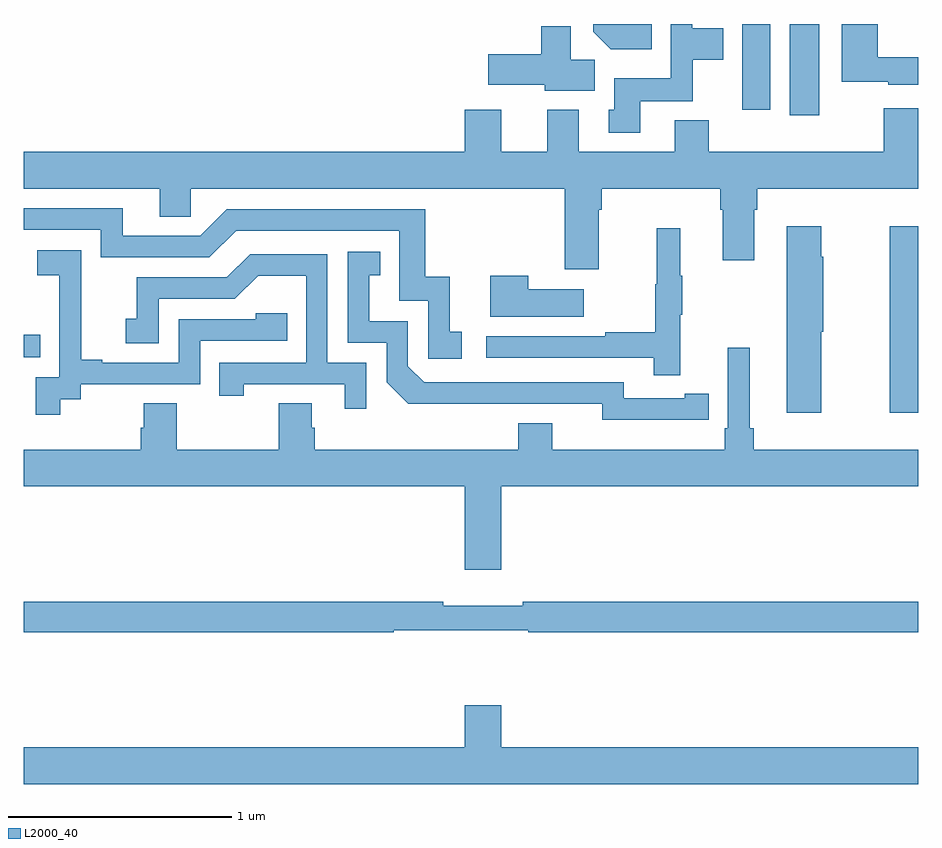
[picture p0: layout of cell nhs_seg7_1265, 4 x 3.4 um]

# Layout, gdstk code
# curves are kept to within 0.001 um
import gdstk
lib = gdstk.Library(unit=1e-6, precision=1e-09)
def R(c, l, rs):  # rectangles x0, y0, x1, y1
    for r in rs: c.add(gdstk.rectangle(r[:2], r[2:], *l))
def P(c, l, *ps):  # polygons
    for p in ps: c.add(gdstk.Polygon(p, *l))
L2000_40 = (2000, 40)

nhs_seg7_1265 = lib.new_cell('nhs_seg7_1265')
R(nhs_seg7_1265, L2000_40, [(202.873,1018.26,203,1019.095), (199,1018.509,199.073,1018.61), (202.427,1019.592,202.558,1020), (202.214,1019.616,202.339,1020)])
P(nhs_seg7_1265, L2000_40, [(201.809,1020),(201.548,1020),(201.548,1019.966),(201.626,1019.888),(201.809,1019.888)],
  [(201.757,1019.654),(201.993,1019.654),(201.993,1019.84),(202.129,1019.84),(202.129,1019.98),(201.99,1019.98),(201.99,1020),(201.894,1020),(201.894,1019.758),(201.641,1019.758),(201.641,1019.616),(201.617,1019.616),(201.617,1019.514),(201.757,1019.514)],
  [(203,1019.851),(202.82,1019.851),(202.82,1020),(202.658,1020),(202.658,1019.741),(202.866,1019.741),(202.866,1019.729),(203,1019.729)],
  [(201.553,1019.84),(201.446,1019.84),(201.446,1019.989),(201.314,1019.989),(201.314,1019.864),(201.078,1019.864),(201.078,1019.729),(201.33,1019.729),(201.33,1019.702),(201.553,1019.702)],
  [(201.341,1019.617),(201.341,1019.428),(201.136,1019.428),(201.136,1019.617),(200.972,1019.617),(200.972,1019.428),(199,1019.428),(199,1019.264),(199.607,1019.264),(199.607,1019.137),(199.746,1019.137),(199.746,1019.264),(201.419,1019.264),(201.419,1018.902),(201.571,1018.902),(201.571,1019.168),(201.584,1019.168),(201.584,1019.264),(202.115,1019.264),(202.115,1019.168),(202.127,1019.168),(202.127,1018.944),(202.267,1018.944),(202.267,1019.168),(202.28,1019.168),(202.28,1019.264),(203,1019.264),(203,1019.623),(202.847,1019.623),(202.847,1019.428),(202.064,1019.428),(202.064,1019.569),(201.911,1019.569),(201.911,1019.428),(201.481,1019.428),(201.481,1019.617)],
  [(200.959,1018.623),(200.906,1018.623),(200.906,1018.87),(200.795,1018.87),(200.795,1019.172),(199.908,1019.172),(199.788,1019.052),(199.441,1019.052),(199.441,1019.175),(199,1019.175),(199,1019.079),(199.344,1019.079),(199.344,1018.956),(199.83,1018.956),(199.95,1019.076),(200.679,1019.076),(200.679,1018.761),(200.808,1018.761),(200.808,1018.503),(200.959,1018.503)],
  [(202.566,1018.623),(202.576,1018.623),(202.576,1018.959),(202.566,1018.959),(202.566,1019.095),(202.412,1019.095),(202.412,1018.26),(202.566,1018.26)],
  [(201.935,1018.699),(201.946,1018.699),(201.946,1018.873),(201.935,1018.873),(201.935,1019.086),(201.832,1019.086),(201.832,1018.836),(201.825,1018.836),(201.825,1018.622),(201.601,1018.622),(201.601,1018.602),(201.069,1018.602),(201.069,1018.506),(201.817,1018.506),(201.817,1018.428),(201.935,1018.428)],
  [(199.162,1018.321),(199.254,1018.321),(199.254,1018.389),(199.788,1018.389),(199.788,1018.584),(200.177,1018.584),(200.177,1018.707),(200.037,1018.707),(200.037,1018.68),(199.692,1018.68),(199.692,1018.485),(199.351,1018.485),(199.351,1018.498),(199.256,1018.498),(199.256,1018.781),(199.257,1018.781),(199.257,1018.987),(199.059,1018.987),(199.059,1018.877),(199.157,1018.877),(199.157,1018.649),(199.158,1018.649),(199.158,1018.419),(199.053,1018.419),(199.053,1018.251),(199.162,1018.251)],
  [(201.956,1018.23),(202.064,1018.23),(202.064,1018.346),(201.956,1018.346),(201.956,1018.326),(201.684,1018.326),(201.684,1018.398),(200.79,1018.398),(200.718,1018.47),(200.718,1018.671),(200.545,1018.671),(200.545,1018.875),(200.594,1018.875),(200.594,1018.981),(200.448,1018.981),(200.448,1018.575),(200.622,1018.575),(200.622,1018.398),(200.72,1018.301),(201.588,1018.302),(201.588,1018.229)],
  [(200.532,1018.485),(200.358,1018.485),(200.358,1018.971),(200.012,1018.971),(199.907,1018.866),(199.504,1018.866),(199.504,1018.681),(199.455,1018.681),(199.455,1018.572),(199.602,1018.572),(199.602,1018.77),(199.944,1018.77),(200.048,1018.874),(200.262,1018.874),(200.262,1018.485),(199.873,1018.485),(199.873,1018.338),(199.984,1018.338),(199.984,1018.389),(200.435,1018.389),(200.435,1018.278),(200.532,1018.278)],
  [(201.505,1018.813),(201.257,1018.813),(201.257,1018.873),(201.086,1018.873),(201.086,1018.691),(201.505,1018.691)],
  [(201.136,1017.932),(203,1017.932),(203,1018.096),(202.265,1018.096),(202.265,1018.192),(202.246,1018.192),(202.246,1018.552),(202.149,1018.552),(202.149,1018.192),(202.136,1018.192),(202.136,1018.096),(201.364,1018.096),(201.364,1018.213),(201.212,1018.213),(201.212,1018.096),(200.3,1018.096),(200.3,1018.194),(200.287,1018.194),(200.287,1018.304),(200.14,1018.304),(200.14,1018.096),(199.683,1018.096),(199.683,1018.304),(199.535,1018.304),(199.535,1018.194),(199.523,1018.194),(199.523,1018.096),(199,1018.096),(199,1017.932),(200.972,1017.932),(200.972,1017.558),(201.136,1017.558)],
  [(200.655,1017.288),(201.255,1017.288),(201.255,1017.28),(203,1017.28),(203,1017.416),(201.232,1017.416),(201.232,1017.397),(200.876,1017.397),(200.876,1017.416),(199,1017.416),(199,1017.28),(200.655,1017.28)],
  [(203,1016.764),(201.136,1016.764),(201.136,1016.953),(200.972,1016.953),(200.972,1016.764),(199,1016.764),(199,1016.6),(203,1016.6)])

lib.write_gds('nhs_seg7_1265.gds')
